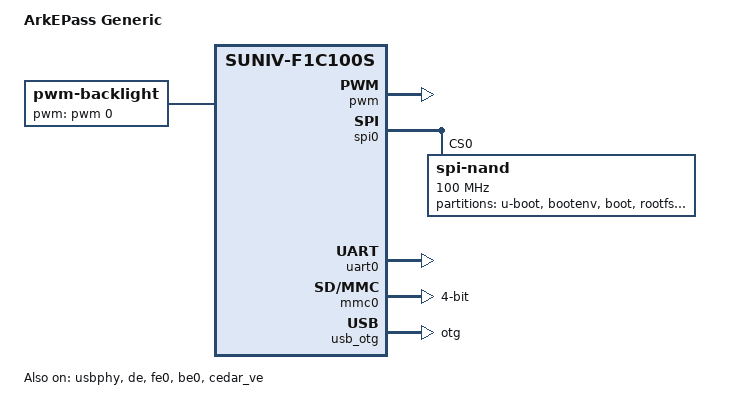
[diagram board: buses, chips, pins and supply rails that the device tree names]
// SPDX-License-Identifier: (GPL-2.0+ OR X11)

/dts-v1/;
#include "suniv-f1c100s.dtsi"
#include <dt-bindings/input/input.h>
#include <dt-bindings/gpio/gpio.h>
#include <dt-bindings/display/st7701initseq.h>

/ {
	model = "ArkEPass Generic";
	compatible = "rhodesisland,electric-pass",
	         "allwinner,suniv-f1c200s",
			 "allwinner,suniv-f1c100s";

	chosen {
		#address-cells = <1>;
		#size-cells = <1>;
		ranges;
	};

	reserved-memory {
		#address-cells = <1>;
		#size-cells = <1>;
		ranges;

		/*
		 * this CMA size will be changed by U-Boot according to the detected DRAM size.
		 * For 32M board, the size will be 16M; for 64M board, the size will be 32M.
		 */
		linux,cma {
			compatible = "shared-dma-pool";
			reusable;
			size = <0x1000000>; /* 16 MiB */
			linux,cma-default;
		};
	};

	backlight {
		compatible = "pwm-backlight";
		pwms = <&pwm 0 10000 0>;


		brightness-levels = <0 4 8 16 32 64 128 196 220 255>;
		default-brightness-level = <6>;
	};

	panel: panel {
		#address-cells = <1>;
		#size-cells = <0>;

		port@0 {
			reg = <0>;
			#address-cells = <1>;
			#size-cells = <0>;

			panel_input: endpoint@0 {
				reg = <0>;
				remote-endpoint = <&tcon0_out_lcd>;
			};
		};
	};

	st7701initseq: st7701initseq {
		compatible = "lattland,st7701-initseq";
		status = "disabled";
	};
};

&pio{
	spi1_pins: spi1-pins {
		pins = "PE7","PE8", "PE9", "PE10";
		function = "spi1";
		bias-pull-up;
	};
};

&pwm {
	pinctrl-names = "default";
	pinctrl-0 = <&pwm0_pe_pins>;
	status = "okay";
};

&spi0 {
	status = "okay";

	spi-nand@0 {
		#address-cells = <1>;
		#size-cells = <1>;
		compatible = "spi-nand";
		reg = <0>;
		/*
		 * The CDR2 divider off the 200MHz AHB only yields 100/50/33MHz,
		 * so anything under 100 lands on 50. W25N01GV is good to 104.
		 */
		spi-max-frequency = <100000000>;
		/* suniv has no dual TX and no D2/D3 pins, so reads only */
		spi-rx-bus-width = <2>;
		status = "okay";

		partitions {
			compatible = "fixed-partitions";
			#address-cells = <1>;
			#size-cells = <1>;

			partition@0 {
				label = "u-boot";
				reg = <0x000000 0x0e0000>;
				read-only;
			};

			partition@e0000 {
				label = "bootenv";
				reg = <0x0e0000 0x020000>;
			};

			partition@100000 {
				label = "boot";
				reg = <0x100000 0x600000>;
			};

			/* lower layer of overlayfs */
			partition@700000 {
				label = "rootfs";
				reg = <0x700000 0x1c00000>;
			};

			/* upper layer of overlayfs */
			partition@2300000 {
				label = "data";
				reg = <0x2300000 0x5d00000>;
			};
		};
	};
};

&spi1 {
	pinctrl-names = "default";
	pinctrl-0 = <&spi1_pins>;
	status = "disabled";
	spidev@0 {
	   compatible = "rohm,dh2228fv";	/* Same as "spidev" but without errors at boot. Search "buggy DT" to understand */
	   spi-max-frequency = <80000000>;
	   reg = <0>;
	};
};

&uart0 {
	pinctrl-names = "default";
	pinctrl-0 = <&uart0_pe_pins>;
	status = "okay";
};

&mmc0 {
	bus-width = <4>;
	status = "okay";
	broken-cd;
};

&otg_sram {
	status = "okay";
};

&usb_otg {
	dr_mode = "otg"; /* otg host peripheral */
	status = "okay";
};

&usbphy {
	status = "okay";
};

&de {
	status = "okay";
};

&fe0 {
	status = "okay";
};

&be0 {
	status = "okay";
};

&tve0 {
	status = "disabled";
};

&cedar_ve {
	status = "okay";
};

&tcon0_out {
	tcon0_out_lcd: endpoint@0 {
		reg = <0>;
		remote-endpoint = <&panel_input>;
	};
};
